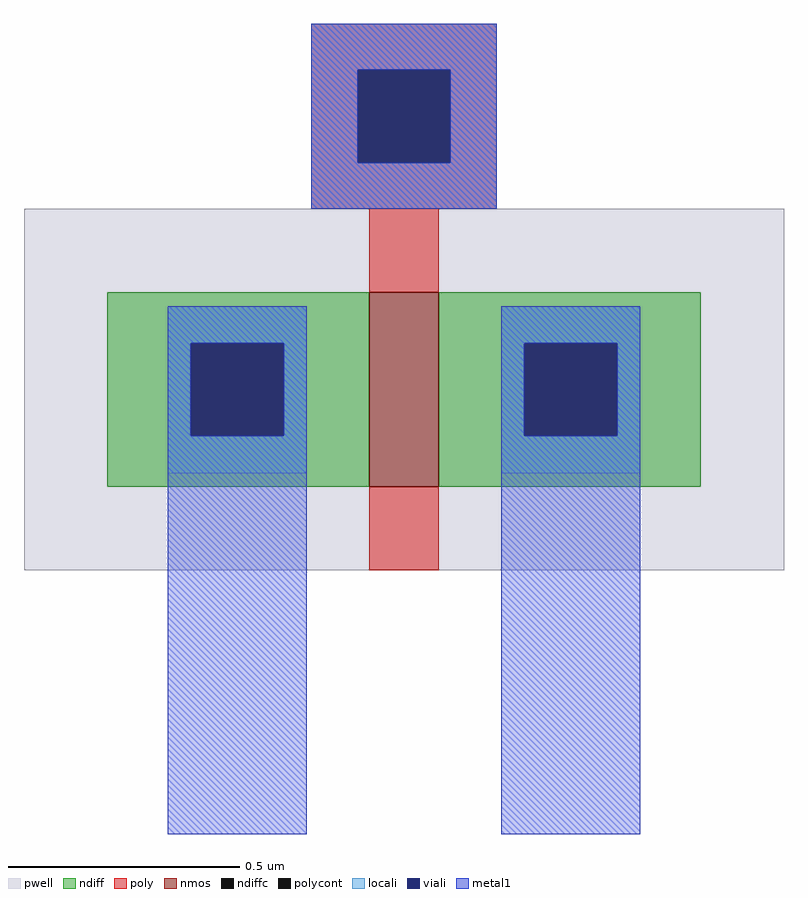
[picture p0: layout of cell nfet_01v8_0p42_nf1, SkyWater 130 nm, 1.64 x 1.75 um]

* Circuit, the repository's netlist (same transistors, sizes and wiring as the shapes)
* NGSPICE file created from nfet_01v8_0p42_nf1.ext - technology: sky130A

.subckt nfet_01v8_0p42_nf1
X0 a_143_0# a_88_120# a_0_0# VSUBS sky130_fd_pr__nfet_01v8 ad=0.237 pd=1.97 as=0.237 ps=1.97 w=0.42 l=0.15
.ends

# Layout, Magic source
magic
tech sky130A
magscale 1 2
<< pwell >>
rect -92 443 236 599
<< nmos >>
rect 57 479 87 563
<< ndiff >>
rect -56 541 57 563
rect -56 501 -20 541
rect 20 501 57 541
rect -56 479 57 501
rect 87 541 200 563
rect 87 501 124 541
rect 164 501 200 541
rect 87 479 200 501
<< ndiffc >>
rect -20 501 20 541
rect 124 501 164 541
<< poly >>
rect 32 659 112 679
rect 32 619 52 659
rect 92 619 112 659
rect 32 599 112 619
rect 57 563 87 599
rect 57 443 87 479
<< polycont >>
rect 52 619 92 659
<< locali >>
rect 32 659 112 679
rect 32 619 52 659
rect 92 619 112 659
rect 32 599 112 619
rect -30 541 30 557
rect -30 501 -20 541
rect 20 501 30 541
rect -30 485 30 501
rect 114 541 174 557
rect 114 501 124 541
rect 164 501 174 541
rect 114 485 174 501
<< viali >>
rect 52 619 92 659
rect -20 501 20 541
rect 124 501 164 541
<< metal1 >>
rect 32 659 112 679
rect 32 619 52 659
rect 92 619 112 659
rect 32 599 112 619
rect -30 541 30 557
rect -30 501 -20 541
rect 20 501 30 541
rect -30 329 30 501
rect 114 541 174 557
rect 114 501 124 541
rect 164 501 174 541
rect 114 329 174 501
<< end >>
